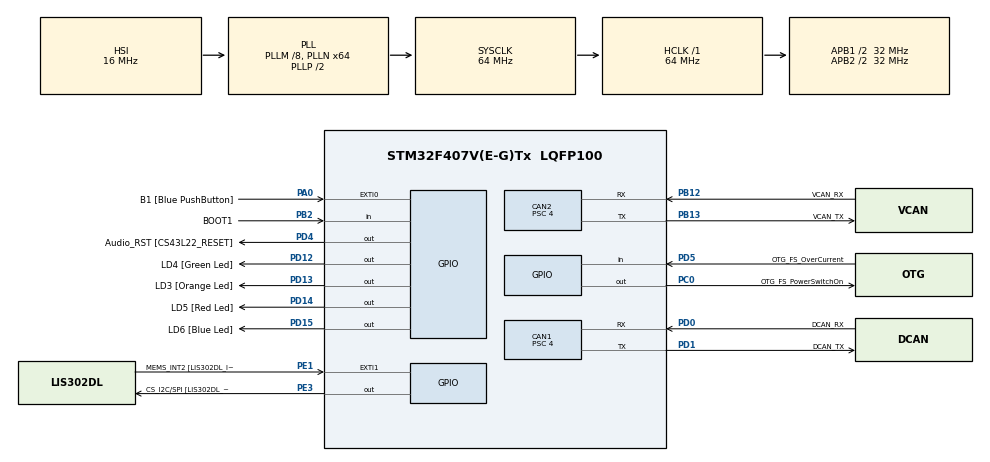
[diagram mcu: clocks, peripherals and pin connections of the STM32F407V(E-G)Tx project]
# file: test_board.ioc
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CAN1.ABOM=ENABLE
CAN1.BS1=CAN_BS1_9TQ
CAN1.BS2=CAN_BS2_6TQ
CAN1.CalculateTimeQuantum=125.0
CAN1.Prescaler=4
CAN2.ABOM=ENABLE
CAN2.BS1=CAN_BS1_9TQ
CAN2.BS2=CAN_BS2_6TQ
CAN2.CalculateTimeQuantum=125.0
CAN2.Prescaler=4
FREERTOS.INCLUDE_vTaskDelayUntil=1
FREERTOS.Tasks01=defaultTask,0,128,StartDefaultTask,Default,NULL
Mcu.Family=STM32F4
Mcu.Name=STM32F407V(E-G)Tx
Mcu.Package=LQFP100
NVIC.CAN1_RX0_IRQn=true\:5\:0\:false\:false\:true\:true\:true
NVIC.CAN1_RX1_IRQn=true\:5\:0\:false\:false\:true\:true\:true
NVIC.CAN2_RX0_IRQn=true\:5\:0\:false\:false\:true\:true\:true
NVIC.CAN2_RX1_IRQn=true\:5\:0\:false\:false\:true\:true\:true
NVIC.PriorityGroup=NVIC_PRIORITYGROUP_4
NVIC.TIM1_UP_TIM10_IRQn=true\:0\:0\:false\:false\:true\:false\:false
NVIC.TimeBase=TIM1_UP_TIM10_IRQn
NVIC.TimeBaseIP=TIM1
PA0-WKUP.GPIO_Label=B1 [Blue PushButton]
PA0-WKUP.GPIO_ModeDefaultEXTI=GPIO_MODE_EVT_RISING
PA0-WKUP.GPIO_PuPd=GPIO_NOPULL
PA0-WKUP.Signal=GPXTI0
PA10.GPIO_Label=OTG_FS_ID
PA10.GPIO_Mode=GPIO_MODE_AF_PP
PA10.GPIO_PuPd=GPIO_NOPULL
PA10.GPIO_Speed=GPIO_SPEED_FREQ_LOW
PA10.Signal=USB_OTG_FS_ID
PA11.GPIO_Label=OTG_FS_DM
PA11.GPIO_Mode=GPIO_MODE_AF_PP
PA11.GPIO_PuPd=GPIO_NOPULL
PA11.GPIO_Speed=GPIO_SPEED_FREQ_LOW
PA11.Signal=USB_OTG_FS_DM
PA12.GPIO_Label=OTG_FS_DP
PA12.GPIO_Mode=GPIO_MODE_AF_PP
PA12.GPIO_PuPd=GPIO_NOPULL
PA12.GPIO_Speed=GPIO_SPEED_FREQ_LOW
PA12.Signal=USB_OTG_FS_DP
PA13.GPIO_Label=SWDIO
PA13.Mode=Serial_Wire
PA13.Signal=SYS_JTMS-SWDIO
PA14.GPIO_Label=SWCLK
PA14.Mode=Serial_Wire
PA14.Signal=SYS_JTCK-SWCLK
PA4.GPIO_Label=I2S3_WS [CS43L22_LRCK]
PA4.GPIO_Mode=GPIO_MODE_AF_PP
PA4.GPIO_PuPd=GPIO_NOPULL
PA4.GPIO_Speed=GPIO_SPEED_FREQ_LOW
PA4.Signal=I2S3_WS
PA5.GPIO_Label=SPI1_SCK [LIS302DL_SCL/SPC]
PA5.GPIO_Mode=GPIO_MODE_AF_PP
PA5.GPIO_PuPd=GPIO_NOPULL
PA5.GPIO_Speed=GPIO_SPEED_FREQ_LOW
PA5.Signal=SPI1_SCK
PA6.GPIO_Label=SPI1_MISO [LIS302DL_SDO]
PA6.GPIO_Mode=GPIO_MODE_AF_PP
PA6.GPIO_PuPd=GPIO_NOPULL
PA6.GPIO_Speed=GPIO_SPEED_FREQ_LOW
PA6.Signal=SPI1_MISO
PA7.GPIO_Label=SPI1_MOSI [LIS302DL_SDA/SDI/SDO]
PA7.GPIO_Mode=GPIO_MODE_AF_PP
PA7.GPIO_PuPd=GPIO_NOPULL
PA7.GPIO_Speed=GPIO_SPEED_FREQ_LOW
PA7.Signal=SPI1_MOSI
PA9.GPIO_Label=VBUS_FS
PA9.GPIO_Mode=GPIO_MODE_INPUT
PA9.GPIO_PuPd=GPIO_NOPULL
PA9.Signal=USB_OTG_FS_VBUS
PB10.GPIO_Label=CLK_IN [MP45DT02_CLK]
PB10.GPIO_Mode=GPIO_MODE_AF_PP
PB10.GPIO_PuPd=GPIO_NOPULL
PB10.GPIO_Speed=GPIO_SPEED_FREQ_LOW
PB10.Signal=I2S2_CK
PB12.GPIO_Label=VCAN_RX
PB12.Mode=Slave
PB12.Signal=CAN2_RX
PB13.GPIO_Label=VCAN_TX
PB13.Mode=Slave
PB13.Signal=CAN2_TX
PB2.GPIO_Label=BOOT1
PB2.GPIO_Mode=GPIO_MODE_INPUT
PB2.GPIO_PuPd=GPIO_NOPULL
PB2.Signal=GPIO_Input
PB3.GPIO_Label=SWO
PB3.Signal=SYS_JTDO-SWO
PB6.GPIO_Label=Audio_SCL [CS43L22_SCL]
PB6.GPIO_Mode=GPIO_MODE_AF_OD
PB6.GPIO_PuPd=GPIO_NOPULL
PB6.GPIO_Speed=GPIO_SPEED_FREQ_LOW
PB6.Signal=I2C1_SCL
PB9.GPIO_Label=Audio_SDA [CS43L22_SDA]
PB9.GPIO_Mode=GPIO_MODE_AF_OD
PB9.GPIO_PuPd=GPIO_NOPULL
PB9.GPIO_Speed=GPIO_SPEED_FREQ_LOW
PB9.Signal=I2C1_SDA
PC0.GPIO_Label=OTG_FS_PowerSwitchOn
PC0.GPIO_PuPd=GPIO_NOPULL
PC0.GPIO_Speed=GPIO_SPEED_FREQ_LOW
PC0.PinState=GPIO_PIN_SET
PC0.Signal=GPIO_Output
PC10.GPIO_Label=I2S3_SCK [CS43L22_SCLK]
PC10.GPIO_Mode=GPIO_MODE_AF_PP
PC10.GPIO_PuPd=GPIO_NOPULL
PC10.GPIO_Speed=GPIO_SPEED_FREQ_LOW
PC10.Signal=I2S3_CK
PC12.GPIO_Label=I2S3_SD [CS43L22_SDIN]
PC12.GPIO_Mode=GPIO_MODE_AF_PP
PC12.GPIO_PuPd=GPIO_NOPULL
PC12.GPIO_Speed=GPIO_SPEED_FREQ_LOW
PC12.Signal=I2S3_SD
PC14-OSC32_IN.GPIO_Label=PC14-OSC32_IN
PC14-OSC32_IN.Signal=RCC_OSC32_IN
PC15-OSC32_OUT.GPIO_Label=PC15-OSC32_OUT
PC15-OSC32_OUT.Signal=RCC_OSC32_OUT
PC3.GPIO_Label=PDM_OUT [MP45DT02_DOUT]
PC3.GPIO_Mode=GPIO_MODE_AF_PP
PC3.GPIO_PuPd=GPIO_NOPULL
PC3.GPIO_Speed=GPIO_SPEED_FREQ_LOW
PC3.Signal=I2S2_SD
PC7.GPIO_Label=I2S3_MCK [CS43L22_MCLK]
PC7.GPIO_Mode=GPIO_MODE_AF_PP
PC7.GPIO_PuPd=GPIO_NOPULL
PC7.GPIO_Speed=GPIO_SPEED_FREQ_LOW
PC7.Signal=I2S3_MCK
PD0.GPIO_Label=DCAN_RX
PD0.Mode=Master
PD0.Signal=CAN1_RX
PD1.GPIO_Label=DCAN_TX
PD1.Mode=Master
PD1.Signal=CAN1_TX
PD12.GPIO_Label=LD4 [Green Led]
PD12.GPIO_PuPd=GPIO_NOPULL
PD12.GPIO_Speed=GPIO_SPEED_FREQ_LOW
PD12.Signal=GPIO_Output
PD13.GPIO_Label=LD3 [Orange Led]
PD13.GPIO_PuPd=GPIO_NOPULL
PD13.GPIO_Speed=GPIO_SPEED_FREQ_LOW
PD13.Signal=GPIO_Output
PD14.GPIO_Label=LD5 [Red Led]
PD14.GPIO_PuPd=GPIO_NOPULL
PD14.GPIO_Speed=GPIO_SPEED_FREQ_LOW
PD14.Signal=GPIO_Output
PD15.GPIO_Label=LD6 [Blue Led]
PD15.GPIO_PuPd=GPIO_NOPULL
PD15.GPIO_Speed=GPIO_SPEED_FREQ_LOW
PD15.Signal=GPIO_Output
PD4.GPIO_Label=Audio_RST [CS43L22_RESET]
PD4.GPIO_PuPd=GPIO_NOPULL
PD4.GPIO_Speed=GPIO_SPEED_FREQ_LOW
PD4.Signal=GPIO_Output
PD5.GPIO_Label=OTG_FS_OverCurrent
PD5.GPIO_Mode=GPIO_MODE_INPUT
PD5.GPIO_PuPd=GPIO_NOPULL
PD5.Signal=GPIO_Input
PE1.GPIO_Label=MEMS_INT2 [LIS302DL_INT2]
PE1.GPIO_ModeDefaultEXTI=GPIO_MODE_EVT_RISING
PE1.GPIO_PuPd=GPIO_NOPULL
PE1.Signal=GPXTI1
PE3.GPIO_Label=CS_I2C/SPI [LIS302DL_CS_I2C/SPI]
PE3.GPIO_PuPd=GPIO_NOPULL
PE3.GPIO_Speed=GPIO_SPEED_FREQ_LOW
PE3.Signal=GPIO_Output
PH0-OSC_IN.GPIO_Label=PH0-OSC_IN
PH0-OSC_IN.Signal=RCC_OSC_IN
PH1-OSC_OUT.GPIO_Label=PH1-OSC_OUT
PH1-OSC_OUT.Signal=RCC_OSC_OUT
ProjectManager.HeapSize=0x200
ProjectManager.StackSize=0x400
ProjectManager.TargetToolchain=SW4STM32
RCC.48MHZClocksFreq_Value=18285714.285714287
RCC.AHBFreq_Value=64000000
RCC.APB1CLKDivider=RCC_HCLK_DIV2
RCC.APB1Freq_Value=32000000
RCC.APB1TimFreq_Value=64000000
RCC.APB2CLKDivider=RCC_HCLK_DIV2
RCC.APB2Freq_Value=32000000
RCC.APB2TimFreq_Value=64000000
RCC.CortexFreq_Value=64000000
RCC.HCLKFreq_Value=64000000
RCC.HSE_VALUE=8000000
RCC.HSI_VALUE=16000000
RCC.PLLM=8
RCC.PLLN=64
RCC.PLLQ=7
RCC.SYSCLKFreq_VALUE=64000000
RCC.SYSCLKSource=RCC_SYSCLKSOURCE_PLLCLK
RCC.VCOOutputFreq_Value=128000000
VP_FREERTOS_VS_ENABLE.Mode=Enabled
VP_SYS_VS_tim1.Mode=TIM1
board=STM32F4DISCOVERY

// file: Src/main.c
/* USER CODE BEGIN Header */
/**
  ******************************************************************************
  * @file           : main.c
  * @brief          : Main program body
  ******************************************************************************
  ** This notice applies to any and all portions of this file
  * that are not between comment pairs USER CODE BEGIN and
  * USER CODE END. Other portions of this file, whether
  * inserted by the user or by software development tools
  * are owned by their respective copyright owners.
  *
  * COPYRIGHT(c) 2019 STMicroelectronics
  *
  * Redistribution and use in source and binary forms, with or without modification,
  * are permitted provided that the following conditions are met:
  *   1. Redistributions of source code must retain the above copyright notice,
  *      this list of conditions and the following disclaimer.
  *   2. Redistributions in binary form must reproduce the above copyright notice,
  *      this list of conditions and the following disclaimer in the documentation
  *      and/or other materials provided with the distribution.
  *   3. Neither the name of STMicroelectronics nor the names of its contributors
  *      may be used to endorse or promote products derived from this software
  *      without specific prior written permission.
  *
  * THIS SOFTWARE IS PROVIDED BY THE COPYRIGHT HOLDERS AND CONTRIBUTORS "AS IS"
  * AND ANY EXPRESS OR IMPLIED WARRANTIES, INCLUDING, BUT NOT LIMITED TO, THE
  * IMPLIED WARRANTIES OF MERCHANTABILITY AND FITNESS FOR A PARTICULAR PURPOSE ARE
  * DISCLAIMED. IN NO EVENT SHALL THE COPYRIGHT HOLDER OR CONTRIBUTORS BE LIABLE
  * FOR ANY DIRECT, INDIRECT, INCIDENTAL, SPECIAL, EXEMPLARY, OR CONSEQUENTIAL
  * DAMAGES (INCLUDING, BUT NOT LIMITED TO, PROCUREMENT OF SUBSTITUTE GOODS OR
  * SERVICES; LOSS OF USE, DATA, OR PROFITS; OR BUSINESS INTERRUPTION) HOWEVER
  * CAUSED AND ON ANY THEORY OF LIABILITY, WHETHER IN CONTRACT, STRICT LIABILITY,
  * OR TORT (INCLUDING NEGLIGENCE OR OTHERWISE) ARISING IN ANY WAY OUT OF THE USE
  * OF THIS SOFTWARE, EVEN IF ADVISED OF THE POSSIBILITY OF SUCH DAMAGE.
  *
  ******************************************************************************
  */
/* USER CODE END Header */

#include "main.h"
#include "cmsis_os.h"

CAN_HandleTypeDef hcan1;
CAN_HandleTypeDef hcan2;

osThreadId defaultTaskHandle;
/* USER CODE BEGIN PV */
QueueHandle_t			q_rx_dcan;
QueueHandle_t			q_tx_dcan;
QueueHandle_t			q_rx_vcan;
QueueHandle_t			q_tx_vcan;
/* USER CODE END PV */

void SystemClock_Config(void);
static void MX_GPIO_Init(void);
static void MX_CAN1_Init(void);
static void MX_CAN2_Init(void);
void StartDefaultTask(void const * argument);

/* USER CODE BEGIN PFP */
void initRTOSObjects();
/* USER CODE END PFP */

/* USER CODE BEGIN 0 */
void initRTOSObjects() {
	q_rx_dcan = 			xQueueCreate(10, sizeof(CanRxMsgTypeDef));
	q_tx_dcan = 			xQueueCreate(10, sizeof(CanTxMsgTypeDef));
	q_rx_vcan = 			xQueueCreate(10, sizeof(CanRxMsgTypeDef));
	q_tx_vcan = 			xQueueCreate(10, sizeof(CanTxMsgTypeDef));

	/* Create Tasks */

	//todo optimize stack depths http://www.freertos.org/FAQMem.html#StackSize
	xTaskCreate(taskTX_DCAN, "TX CAN DCAN", 256, NULL, 1, NULL);
	xTaskCreate(taskTX_VCAN, "TX CAN VCAN", 256, NULL, 1, NULL);
	xTaskCreate(taskRXCANProcess, "RX CAN", 256, NULL, 1, NULL);
	xTaskCreate(task_main, "main loop", 256, NULL, 1, NULL);
}
/* USER CODE END 0 */

int main(void)
{

  /* MCU Configuration--------------------------------------------------------*/

  /* Reset of all peripherals, Initializes the Flash interface and the Systick. */
  HAL_Init();

  /* Configure the system clock */
  SystemClock_Config();

  /* Initialize all configured peripherals */
  MX_GPIO_Init();
  MX_CAN1_Init();
  MX_CAN2_Init();
  /* USER CODE BEGIN 2 */

  DCANFilterConfig();
	VCANFilterConfig();
	initRTOSObjects();  //start tasks in here
	HAL_CAN_Start(&hcan1);
	HAL_CAN_Start(&hcan2);

	HAL_CAN_ActivateNotification(&hcan1, CAN_IT_RX_FIFO0_MSG_PENDING);
	HAL_CAN_ActivateNotification(&hcan1, CAN_IT_RX_FIFO1_MSG_PENDING);
	HAL_CAN_ActivateNotification(&hcan2, CAN_IT_RX_FIFO0_MSG_PENDING);
	HAL_CAN_ActivateNotification(&hcan2, CAN_IT_RX_FIFO1_MSG_PENDING);
  /* USER CODE END 2 */

  /* Create the thread(s) */
  /* definition and creation of defaultTask */
  osThreadDef(defaultTask, StartDefaultTask, osPriorityNormal, 0, 128);
  defaultTaskHandle = osThreadCreate(osThread(defaultTask), NULL);

  /* Start scheduler */
  osKernelStart();

  /* We should never get here as control is now taken by the scheduler */

  /* Infinite loop */
  while (1)
  {

  }
}

void SystemClock_Config(void)
{
  RCC_OscInitTypeDef RCC_OscInitStruct = {0};
  RCC_ClkInitTypeDef RCC_ClkInitStruct = {0};

  /**Configure the main internal regulator output voltage
  */
  __HAL_RCC_PWR_CLK_ENABLE();
  __HAL_PWR_VOLTAGESCALING_CONFIG(PWR_REGULATOR_VOLTAGE_SCALE1);
  /**Initializes the CPU, AHB and APB busses clocks
  */
  RCC_OscInitStruct.OscillatorType = RCC_OSCILLATORTYPE_HSI;
  RCC_OscInitStruct.HSIState = RCC_HSI_ON;
  RCC_OscInitStruct.HSICalibrationValue = RCC_HSICALIBRATION_DEFAULT;
  RCC_OscInitStruct.PLL.PLLState = RCC_PLL_ON;
  RCC_OscInitStruct.PLL.PLLSource = RCC_PLLSOURCE_HSI;
  RCC_OscInitStruct.PLL.PLLM = 8;
  RCC_OscInitStruct.PLL.PLLN = 64;
  RCC_OscInitStruct.PLL.PLLP = RCC_PLLP_DIV2;
  RCC_OscInitStruct.PLL.PLLQ = 7;
  if (HAL_RCC_OscConfig(&RCC_OscInitStruct) != HAL_OK)
  {
    Error_Handler();
  }
  /**Initializes the CPU, AHB and APB busses clocks
  */
  RCC_ClkInitStruct.ClockType = RCC_CLOCKTYPE_HCLK|RCC_CLOCKTYPE_SYSCLK
                              |RCC_CLOCKTYPE_PCLK1|RCC_CLOCKTYPE_PCLK2;
  RCC_ClkInitStruct.SYSCLKSource = RCC_SYSCLKSOURCE_PLLCLK;
  RCC_ClkInitStruct.AHBCLKDivider = RCC_SYSCLK_DIV1;
  RCC_ClkInitStruct.APB1CLKDivider = RCC_HCLK_DIV2;
  RCC_ClkInitStruct.APB2CLKDivider = RCC_HCLK_DIV2;

  if (HAL_RCC_ClockConfig(&RCC_ClkInitStruct, FLASH_LATENCY_2) != HAL_OK)
  {
    Error_Handler();
  }
}

static void MX_CAN1_Init(void)
{

  hcan1.Instance = CAN1;
  hcan1.Init.Prescaler = 4;
  hcan1.Init.Mode = CAN_MODE_NORMAL;
  hcan1.Init.SyncJumpWidth = CAN_SJW_1TQ;
  hcan1.Init.TimeSeg1 = CAN_BS1_9TQ;
  hcan1.Init.TimeSeg2 = CAN_BS2_6TQ;
  hcan1.Init.TimeTriggeredMode = DISABLE;
  hcan1.Init.AutoBusOff = ENABLE;
  hcan1.Init.AutoWakeUp = DISABLE;
  hcan1.Init.AutoRetransmission = DISABLE;
  hcan1.Init.ReceiveFifoLocked = DISABLE;
  hcan1.Init.TransmitFifoPriority = DISABLE;
  if (HAL_CAN_Init(&hcan1) != HAL_OK)
  {
    Error_Handler();
  }

}

static void MX_CAN2_Init(void)
{

  hcan2.Instance = CAN2;
  hcan2.Init.Prescaler = 4;
  hcan2.Init.Mode = CAN_MODE_NORMAL;
  hcan2.Init.SyncJumpWidth = CAN_SJW_1TQ;
  hcan2.Init.TimeSeg1 = CAN_BS1_9TQ;
  hcan2.Init.TimeSeg2 = CAN_BS2_6TQ;
  hcan2.Init.TimeTriggeredMode = DISABLE;
  hcan2.Init.AutoBusOff = ENABLE;
  hcan2.Init.AutoWakeUp = DISABLE;
  hcan2.Init.AutoRetransmission = DISABLE;
  hcan2.Init.ReceiveFifoLocked = DISABLE;
  hcan2.Init.TransmitFifoPriority = DISABLE;
  if (HAL_CAN_Init(&hcan2) != HAL_OK)
  {
    Error_Handler();
  }

}

static void MX_GPIO_Init(void)
{
  GPIO_InitTypeDef GPIO_InitStruct = {0};

  /* GPIO Ports Clock Enable */
  __HAL_RCC_GPIOE_CLK_ENABLE();
  __HAL_RCC_GPIOC_CLK_ENABLE();
  __HAL_RCC_GPIOH_CLK_ENABLE();
  __HAL_RCC_GPIOA_CLK_ENABLE();
  __HAL_RCC_GPIOB_CLK_ENABLE();
  __HAL_RCC_GPIOD_CLK_ENABLE();

  /*Configure GPIO pin Output Level */
  HAL_GPIO_WritePin(CS_I2C_SPI_GPIO_Port, CS_I2C_SPI_Pin, GPIO_PIN_RESET);

  /*Configure GPIO pin Output Level */
  HAL_GPIO_WritePin(OTG_FS_PowerSwitchOn_GPIO_Port, OTG_FS_PowerSwitchOn_Pin, GPIO_PIN_SET);

  /*Configure GPIO pin Output Level */
  HAL_GPIO_WritePin(GPIOD, LD4_Pin|LD3_Pin|LD5_Pin|LD6_Pin
                          |Audio_RST_Pin, GPIO_PIN_RESET);

  /*Configure GPIO pin : CS_I2C_SPI_Pin */
  GPIO_InitStruct.Pin = CS_I2C_SPI_Pin;
  GPIO_InitStruct.Mode = GPIO_MODE_OUTPUT_PP;
  GPIO_InitStruct.Pull = GPIO_NOPULL;
  GPIO_InitStruct.Speed = GPIO_SPEED_FREQ_LOW;
  HAL_GPIO_Init(CS_I2C_SPI_GPIO_Port, &GPIO_InitStruct);

  /*Configure GPIO pin : OTG_FS_PowerSwitchOn_Pin */
  GPIO_InitStruct.Pin = OTG_FS_PowerSwitchOn_Pin;
  GPIO_InitStruct.Mode = GPIO_MODE_OUTPUT_PP;
  GPIO_InitStruct.Pull = GPIO_NOPULL;
  GPIO_InitStruct.Speed = GPIO_SPEED_FREQ_LOW;
  HAL_GPIO_Init(OTG_FS_PowerSwitchOn_GPIO_Port, &GPIO_InitStruct);

  /*Configure GPIO pin : PDM_OUT_Pin */
  GPIO_InitStruct.Pin = PDM_OUT_Pin;
  GPIO_InitStruct.Mode = GPIO_MODE_AF_PP;
  GPIO_InitStruct.Pull = GPIO_NOPULL;
  GPIO_InitStruct.Speed = GPIO_SPEED_FREQ_LOW;
  GPIO_InitStruct.Alternate = GPIO_AF5_SPI2;
  HAL_GPIO_Init(PDM_OUT_GPIO_Port, &GPIO_InitStruct);

  /*Configure GPIO pin : B1_Pin */
  GPIO_InitStruct.Pin = B1_Pin;
  GPIO_InitStruct.Mode = GPIO_MODE_EVT_RISING;
  GPIO_InitStruct.Pull = GPIO_NOPULL;
  HAL_GPIO_Init(B1_GPIO_Port, &GPIO_InitStruct);

  /*Configure GPIO pin : I2S3_WS_Pin */
  GPIO_InitStruct.Pin = I2S3_WS_Pin;
  GPIO_InitStruct.Mode = GPIO_MODE_AF_PP;
  GPIO_InitStruct.Pull = GPIO_NOPULL;
  GPIO_InitStruct.Speed = GPIO_SPEED_FREQ_LOW;
  GPIO_InitStruct.Alternate = GPIO_AF6_SPI3;
  HAL_GPIO_Init(I2S3_WS_GPIO_Port, &GPIO_InitStruct);

  /*Configure GPIO pins : SPI1_SCK_Pin SPI1_MISO_Pin SPI1_MOSI_Pin */
  GPIO_InitStruct.Pin = SPI1_SCK_Pin|SPI1_MISO_Pin|SPI1_MOSI_Pin;
  GPIO_InitStruct.Mode = GPIO_MODE_AF_PP;
  GPIO_InitStruct.Pull = GPIO_NOPULL;
  GPIO_InitStruct.Speed = GPIO_SPEED_FREQ_LOW;
  GPIO_InitStruct.Alternate = GPIO_AF5_SPI1;
  HAL_GPIO_Init(GPIOA, &GPIO_InitStruct);

  /*Configure GPIO pin : BOOT1_Pin */
  GPIO_InitStruct.Pin = BOOT1_Pin;
  GPIO_InitStruct.Mode = GPIO_MODE_INPUT;
  GPIO_InitStruct.Pull = GPIO_NOPULL;
  HAL_GPIO_Init(BOOT1_GPIO_Port, &GPIO_InitStruct);

  /*Configure GPIO pin : CLK_IN_Pin */
  GPIO_InitStruct.Pin = CLK_IN_Pin;
  GPIO_InitStruct.Mode = GPIO_MODE_AF_PP;
  GPIO_InitStruct.Pull = GPIO_NOPULL;
  GPIO_InitStruct.Speed = GPIO_SPEED_FREQ_LOW;
  GPIO_InitStruct.Alternate = GPIO_AF5_SPI2;
  HAL_GPIO_Init(CLK_IN_GPIO_Port, &GPIO_InitStruct);

  /*Configure GPIO pins : LD4_Pin LD3_Pin LD5_Pin LD6_Pin
                           Audio_RST_Pin */
  GPIO_InitStruct.Pin = LD4_Pin|LD3_Pin|LD5_Pin|LD6_Pin
                          |Audio_RST_Pin;
  GPIO_InitStruct.Mode = GPIO_MODE_OUTPUT_PP;
  GPIO_InitStruct.Pull = GPIO_NOPULL;
  GPIO_InitStruct.Speed = GPIO_SPEED_FREQ_LOW;
  HAL_GPIO_Init(GPIOD, &GPIO_InitStruct);

  /*Configure GPIO pins : I2S3_MCK_Pin I2S3_SCK_Pin I2S3_SD_Pin */
  GPIO_InitStruct.Pin = I2S3_MCK_Pin|I2S3_SCK_Pin|I2S3_SD_Pin;
  GPIO_InitStruct.Mode = GPIO_MODE_AF_PP;
  GPIO_InitStruct.Pull = GPIO_NOPULL;
  GPIO_InitStruct.Speed = GPIO_SPEED_FREQ_LOW;
  GPIO_InitStruct.Alternate = GPIO_AF6_SPI3;
  HAL_GPIO_Init(GPIOC, &GPIO_InitStruct);

  /*Configure GPIO pin : VBUS_FS_Pin */
  GPIO_InitStruct.Pin = VBUS_FS_Pin;
  GPIO_InitStruct.Mode = GPIO_MODE_INPUT;
  GPIO_InitStruct.Pull = GPIO_NOPULL;
  HAL_GPIO_Init(VBUS_FS_GPIO_Port, &GPIO_InitStruct);

  /*Configure GPIO pins : OTG_FS_ID_Pin OTG_FS_DM_Pin OTG_FS_DP_Pin */
  GPIO_InitStruct.Pin = OTG_FS_ID_Pin|OTG_FS_DM_Pin|OTG_FS_DP_Pin;
  GPIO_InitStruct.Mode = GPIO_MODE_AF_PP;
  GPIO_InitStruct.Pull = GPIO_NOPULL;
  GPIO_InitStruct.Speed = GPIO_SPEED_FREQ_LOW;
  GPIO_InitStruct.Alternate = GPIO_AF10_OTG_FS;
  HAL_GPIO_Init(GPIOA, &GPIO_InitStruct);

  /*Configure GPIO pin : OTG_FS_OverCurrent_Pin */
  GPIO_InitStruct.Pin = OTG_FS_OverCurrent_Pin;
  GPIO_InitStruct.Mode = GPIO_MODE_INPUT;
  GPIO_InitStruct.Pull = GPIO_NOPULL;
  HAL_GPIO_Init(OTG_FS_OverCurrent_GPIO_Port, &GPIO_InitStruct);

  /*Configure GPIO pins : Audio_SCL_Pin Audio_SDA_Pin */
  GPIO_InitStruct.Pin = Audio_SCL_Pin|Audio_SDA_Pin;
  GPIO_InitStruct.Mode = GPIO_MODE_AF_OD;
  GPIO_InitStruct.Pull = GPIO_PULLUP;
  GPIO_InitStruct.Speed = GPIO_SPEED_FREQ_LOW;
  GPIO_InitStruct.Alternate = GPIO_AF4_I2C1;
  HAL_GPIO_Init(GPIOB, &GPIO_InitStruct);

  /*Configure GPIO pin : MEMS_INT2_Pin */
  GPIO_InitStruct.Pin = MEMS_INT2_Pin;
  GPIO_InitStruct.Mode = GPIO_MODE_EVT_RISING;
  GPIO_InitStruct.Pull = GPIO_NOPULL;
  HAL_GPIO_Init(MEMS_INT2_GPIO_Port, &GPIO_InitStruct);

}

void StartDefaultTask(void const * argument)
{

  for(;;)
  {
    osDelay(1);
  }
}

void HAL_TIM_PeriodElapsedCallback(TIM_HandleTypeDef *htim)
{
  if (htim->Instance == TIM1) {
    HAL_IncTick();
  }
}

void Error_Handler(void)
{
}

/************************ (C) COPYRIGHT STMicroelectronics *****END OF FILE****/
